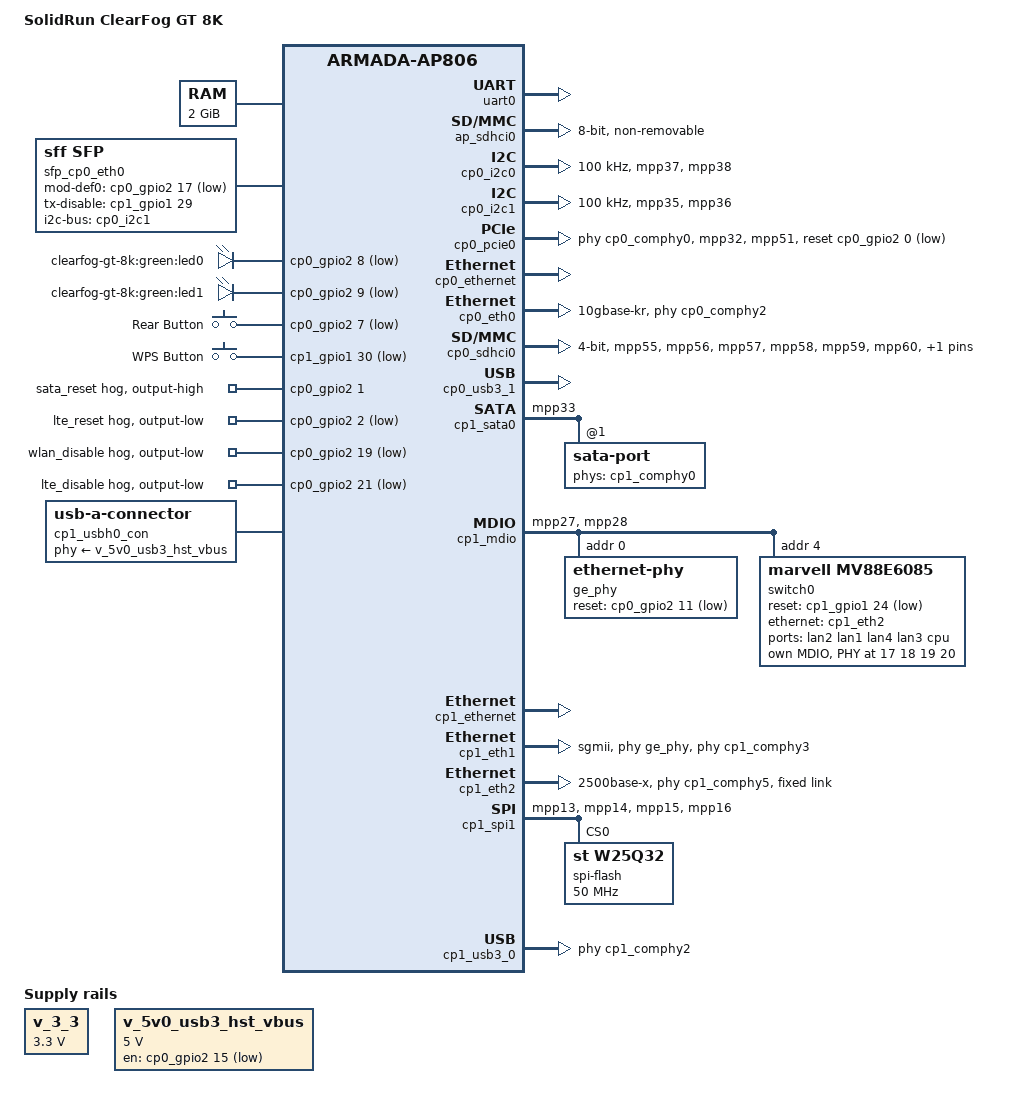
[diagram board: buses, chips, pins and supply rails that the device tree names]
// SPDX-License-Identifier: (GPL-2.0+ OR MIT)
/*
 * Copyright (C) 2018 SolidRun ltd.
 * Based on Marvell MACCHIATOBin board
 *
 * Device Tree file for SolidRun's ClearFog GT 8K
 */

#include "armada-8040.dtsi"

#include <dt-bindings/input/input.h>
#include <dt-bindings/gpio/gpio.h>

/ {
	model = "SolidRun ClearFog GT 8K";
	compatible = "solidrun,clearfog-gt-8k", "marvell,armada8040",
			"marvell,armada-ap806-quad", "marvell,armada-ap806";

	chosen {
		stdout-path = "serial0:115200n8";
	};

	memory@00000000 {
		device_type = "memory";
		reg = <0x0 0x0 0x0 0x80000000>;
	};

	aliases {
		ethernet0 = &cp1_eth1;
		ethernet1 = &cp0_eth0;
		ethernet2 = &cp1_eth2;
	};

	v_3_3: regulator-3-3v {
		compatible = "regulator-fixed";
		regulator-name = "v_3_3";
		regulator-min-microvolt = <3300000>;
		regulator-max-microvolt = <3300000>;
		regulator-always-on;
		status = "okay";
	};

	v_5v0_usb3_hst_vbus: regulator-usb3-vbus0 {
		compatible = "regulator-fixed";
		gpio = <&cp0_gpio2 15 GPIO_ACTIVE_LOW>;
		pinctrl-names = "default";
		pinctrl-0 = <&cp0_xhci_vbus_pins>;
		regulator-name = "v_5v0_usb3_hst_vbus";
		regulator-min-microvolt = <5000000>;
		regulator-max-microvolt = <5000000>;
		status = "okay";
	};

	sfp_cp0_eth0: sfp-cp0-eth0 {
		compatible = "sff,sfp";
		i2c-bus = <&cp0_i2c1>;
		mod-def0-gpio = <&cp0_gpio2 17 GPIO_ACTIVE_LOW>;
		tx-disable-gpio = <&cp1_gpio1 29 GPIO_ACTIVE_HIGH>;
		pinctrl-names = "default";
		pinctrl-0 = <&cp0_sfp_present_pins &cp1_sfp_tx_disable_pins>;
		maximum-power-milliwatt = <2000>;
	};

	leds {
		compatible = "gpio-leds";
		pinctrl-0 = <&cp0_led0_pins
			     &cp0_led1_pins>;
		pinctrl-names = "default";
		/* No designated function for these LEDs at the moment */
		led0 {
			label = "clearfog-gt-8k:green:led0";
			gpios = <&cp0_gpio2 8 GPIO_ACTIVE_LOW>;
			default-state = "on";
		};
		led1 {
			label = "clearfog-gt-8k:green:led1";
			gpios = <&cp0_gpio2 9 GPIO_ACTIVE_LOW>;
			default-state = "on";
		};
	};

	keys {
		compatible = "gpio-keys";
		pinctrl-0 = <&cp0_gpio_reset_pins &cp1_wps_button_pins>;
		pinctrl-names = "default";

		button_0 {
			/* The rear button */
			label = "Rear Button";
			gpios = <&cp0_gpio2 7 GPIO_ACTIVE_LOW>;
			linux,can-disable;
			linux,code = <BTN_0>;
		};

		button_1 {
			/* The wps button */
			label = "WPS Button";
			gpios = <&cp1_gpio1 30 GPIO_ACTIVE_LOW>;
			linux,can-disable;
			linux,code = <KEY_WPS_BUTTON>;
		};
	};
};

&uart0 {
	status = "okay";
	pinctrl-0 = <&uart0_pins>;
	pinctrl-names = "default";
};

&ap_sdhci0 {
	bus-width = <8>;
	no-1-8-v;
	no-sd;
	no-sdio;
	non-removable;
	status = "okay";
	vqmmc-supply = <&v_3_3>;
};

&cp0_i2c0 {
	clock-frequency = <100000>;
	pinctrl-names = "default";
	pinctrl-0 = <&cp0_i2c0_pins>;
	status = "okay";
};

&cp0_i2c1 {
	clock-frequency = <100000>;
	pinctrl-names = "default";
	pinctrl-0 = <&cp0_i2c1_pins>;
	status = "okay";
};

&cp0_pinctrl {
	/*
	 * MPP Bus:
	 * [0-31] = 0xff: Keep default CP0_shared_pins:
	 * [11] CLKOUT_MPP_11 (out)
	 * [23] LINK_RD_IN_CP2CP (in)
	 * [25] CLKOUT_MPP_25 (out)
	 * [29] AVS_FB_IN_CP2CP (in)
	 * [32, 33, 34] pci0/1/2 reset
	 * [35-38] CP0 I2C1 and I2C0
	 * [39] GPIO reset button
	 * [40,41] LED0 and LED1
	 * [43] 1512 phy reset
	 * [47] USB VBUS EN (active low)
	 * [48] FAN PWM
	 * [49] SFP+ present signal
	 * [50] TPM interrupt
	 * [51] WLAN0 disable
	 * [52] WLAN1 disable
	 * [53] LTE disable
	 * [54] NFC reset
	 * [55] Micro SD card detect
	 * [56-61] Micro SD
	 */

	cp0_pci0_reset_pins: pci0-reset-pins {
		marvell,pins = "mpp32";
		marvell,function = "gpio";
	};

	cp0_pci1_reset_pins: pci1-reset-pins {
		marvell,pins = "mpp33";
		marvell,function = "gpio";
	};

	cp0_pci2_reset_pins: pci2-reset-pins {
		marvell,pins = "mpp34";
		marvell,function = "gpio";
	};

	cp0_i2c1_pins: i2c1-pins {
		marvell,pins = "mpp35", "mpp36";
		marvell,function = "i2c1";
	};

	cp0_i2c0_pins: i2c0-pins {
		marvell,pins = "mpp37", "mpp38";
		marvell,function = "i2c0";
	};

	cp0_gpio_reset_pins: gpio-reset-pins {
		marvell,pins = "mpp39";
		marvell,function = "gpio";
	};

	cp0_led0_pins: led0-pins {
		marvell,pins = "mpp40";
		marvell,function = "gpio";
	};

	cp0_led1_pins: led1-pins {
		marvell,pins = "mpp41";
		marvell,function = "gpio";
	};

	cp0_copper_eth_phy_reset: copper-eth-phy-reset {
		marvell,pins = "mpp43";
		marvell,function = "gpio";
	};

	cp0_xhci_vbus_pins: xhci0-vbus-pins {
		marvell,pins = "mpp47";
		marvell,function = "gpio";
	};

	cp0_fan_pwm_pins: fan-pwm-pins {
		marvell,pins = "mpp48";
		marvell,function = "gpio";
	};

	cp0_sfp_present_pins: sfp-present-pins {
		marvell,pins = "mpp49";
		marvell,function = "gpio";
	};

	cp0_tpm_irq_pins: tpm-irq-pins {
		marvell,pins = "mpp50";
		marvell,function = "gpio";
	};

	cp0_wlan_disable_pins: wlan-disable-pins {
		marvell,pins = "mpp51";
		marvell,function = "gpio";
	};

	cp0_sdhci_pins: sdhci-pins {
		marvell,pins = "mpp55", "mpp56", "mpp57", "mpp58", "mpp59",
			       "mpp60", "mpp61";
		marvell,function = "sdio";
	};
};

&cp0_pcie0 {
	pinctrl-names = "default";
	pinctrl-0 = <&cp0_pci0_reset_pins &cp0_wlan_disable_pins>;
	reset-gpios = <&cp0_gpio2 0 GPIO_ACTIVE_LOW>;
	phys = <&cp0_comphy0 0>;
	phy-names = "cp0-pcie0-x1-phy";
	status = "okay";
};

&cp0_gpio2 {
	sata_reset {
		gpio-hog;
		gpios = <1 GPIO_ACTIVE_HIGH>;
		output-high;
	};

	lte_reset {
		gpio-hog;
		gpios = <2 GPIO_ACTIVE_LOW>;
		output-low;
	};

	wlan_disable {
		gpio-hog;
		gpios = <19 GPIO_ACTIVE_LOW>;
		output-low;
	};

	lte_disable {
		gpio-hog;
		gpios = <21 GPIO_ACTIVE_LOW>;
		output-low;
	};
};

&cp0_ethernet {
	status = "okay";
};

/* SFP */
&cp0_eth0 {
	status = "okay";
	phy-mode = "10gbase-kr";
	managed = "in-band-status";
	phys = <&cp0_comphy2 0>;
	sfp = <&sfp_cp0_eth0>;
};

&cp0_sdhci0 {
	broken-cd;
	bus-width = <4>;
	pinctrl-names = "default";
	pinctrl-0 = <&cp0_sdhci_pins>;
	status = "okay";
	vqmmc-supply = <&v_3_3>;
};

&cp0_usb3_1 {
	status = "okay";
};

&cp1_pinctrl {
	/*
	 * MPP Bus:
	 * [0-5] TDM
	 * [6]   VHV Enable
	 * [7]   CP1 SPI0 CSn1 (FXS)
	 * [8]   CP1 SPI0 CSn0 (TPM)
	 * [9.11]CP1 SPI0 MOSI/MISO/CLK
	 * [13]  CP1 SPI1 MISO (TDM and SPI ROM shared)
	 * [14]  CP1 SPI1 CS0n (64Mb SPI ROM)
	 * [15]  CP1 SPI1 MOSI (TDM and SPI ROM shared)
	 * [16]  CP1 SPI1 CLK (TDM and SPI ROM shared)
	 * [24]  Topaz switch reset
	 * [26]  Buzzer
	 * [27]  CP1 SMI MDIO
	 * [28]  CP1 SMI MDC
	 * [29]  CP0 10G SFP TX Disable
	 * [30]  WPS button
	 * [31]  Front panel button
	 */

	cp1_spi1_pins: spi1-pins {
		marvell,pins = "mpp13", "mpp14", "mpp15", "mpp16";
		marvell,function = "spi1";
	};

	cp1_switch_reset_pins: switch-reset-pins {
		marvell,pins = "mpp24";
		marvell,function = "gpio";
	};

	cp1_ge_mdio_pins: ge-mdio-pins {
		marvell,pins = "mpp27", "mpp28";
		marvell,function = "ge";
	};

	cp1_sfp_tx_disable_pins: sfp-tx-disable-pins {
		marvell,pins = "mpp29";
		marvell,function = "gpio";
	};

	cp1_wps_button_pins: wps-button-pins {
		marvell,pins = "mpp30";
		marvell,function = "gpio";
	};
};

&cp1_sata0 {
	pinctrl-0 = <&cp0_pci1_reset_pins>;
	status = "okay";

	sata-port@1 {
		phys = <&cp1_comphy0 1>;
		phy-names = "cp1-sata0-1-phy";
	};
};

&cp1_mdio {
	pinctrl-names = "default";
	pinctrl-0 = <&cp1_ge_mdio_pins>;
	status = "okay";

	ge_phy: ethernet-phy@0 {
		/* LED0 - GB link
		 * LED1 - on: link, blink: activity
		 */
		marvell,reg-init = <3 16 0 0x1017>;
		reg = <0>;
		pinctrl-names = "default";
		pinctrl-0 = <&cp0_copper_eth_phy_reset>;
		reset-gpios = <&cp0_gpio2 11 GPIO_ACTIVE_LOW>;
		reset-assert-us = <10000>;
	};

	switch0: switch0@4 {
		compatible = "marvell,mv88e6085";
		reg = <4>;
		pinctrl-names = "default";
		pinctrl-0 = <&cp1_switch_reset_pins>;
		reset-gpios = <&cp1_gpio1 24 GPIO_ACTIVE_LOW>;

		ports {
			#address-cells = <1>;
			#size-cells = <0>;

			port@1 {
				reg = <1>;
				label = "lan2";
				phy-handle = <&switch0phy0>;
			};

			port@2 {
				reg = <2>;
				label = "lan1";
				phy-handle = <&switch0phy1>;
			};

			port@3 {
				reg = <3>;
				label = "lan4";
				phy-handle = <&switch0phy2>;
			};

			port@4 {
				reg = <4>;
				label = "lan3";
				phy-handle = <&switch0phy3>;
			};

			port@5 {
				reg = <5>;
				label = "cpu";
				ethernet = <&cp1_eth2>;
			};
		};

		mdio {
			#address-cells = <1>;
			#size-cells = <0>;

			switch0phy0: switch0phy0@11 {
				reg = <0x11>;
			};

			switch0phy1: switch0phy1@12 {
				reg = <0x12>;
			};

			switch0phy2: switch0phy2@13 {
				reg = <0x13>;
			};

			switch0phy3: switch0phy3@14 {
				reg = <0x14>;
			};
		};
	};
};

&cp1_ethernet {
	status = "okay";
};

/* 1G copper */
&cp1_eth1 {
	status = "okay";
	phy-mode = "sgmii";
	phy = <&ge_phy>;
	phys = <&cp1_comphy3 1>;
};

/* Switch uplink */
&cp1_eth2 {
	status = "okay";
	phy-mode = "2500base-x";
	phys = <&cp1_comphy5 2>;
	fixed-link {
		speed = <2500>;
		full-duplex;
	};
};

&cp1_spi1 {
	pinctrl-names = "default";
	pinctrl-0 = <&cp1_spi1_pins>;
	status = "okay";

	spi-flash@0 {
		compatible = "st,w25q32";
		spi-max-frequency = <50000000>;
		reg = <0>;
	};
};

&cp1_comphy2 {
	cp1_usbh0_con: connector {
		compatible = "usb-a-connector";
		phy-supply = <&v_5v0_usb3_hst_vbus>;
	};
};

&cp1_usb3_0 {
	phys = <&cp1_comphy2 0>;
	phy-names = "cp1-usb3h0-comphy";
	status = "okay";
};
